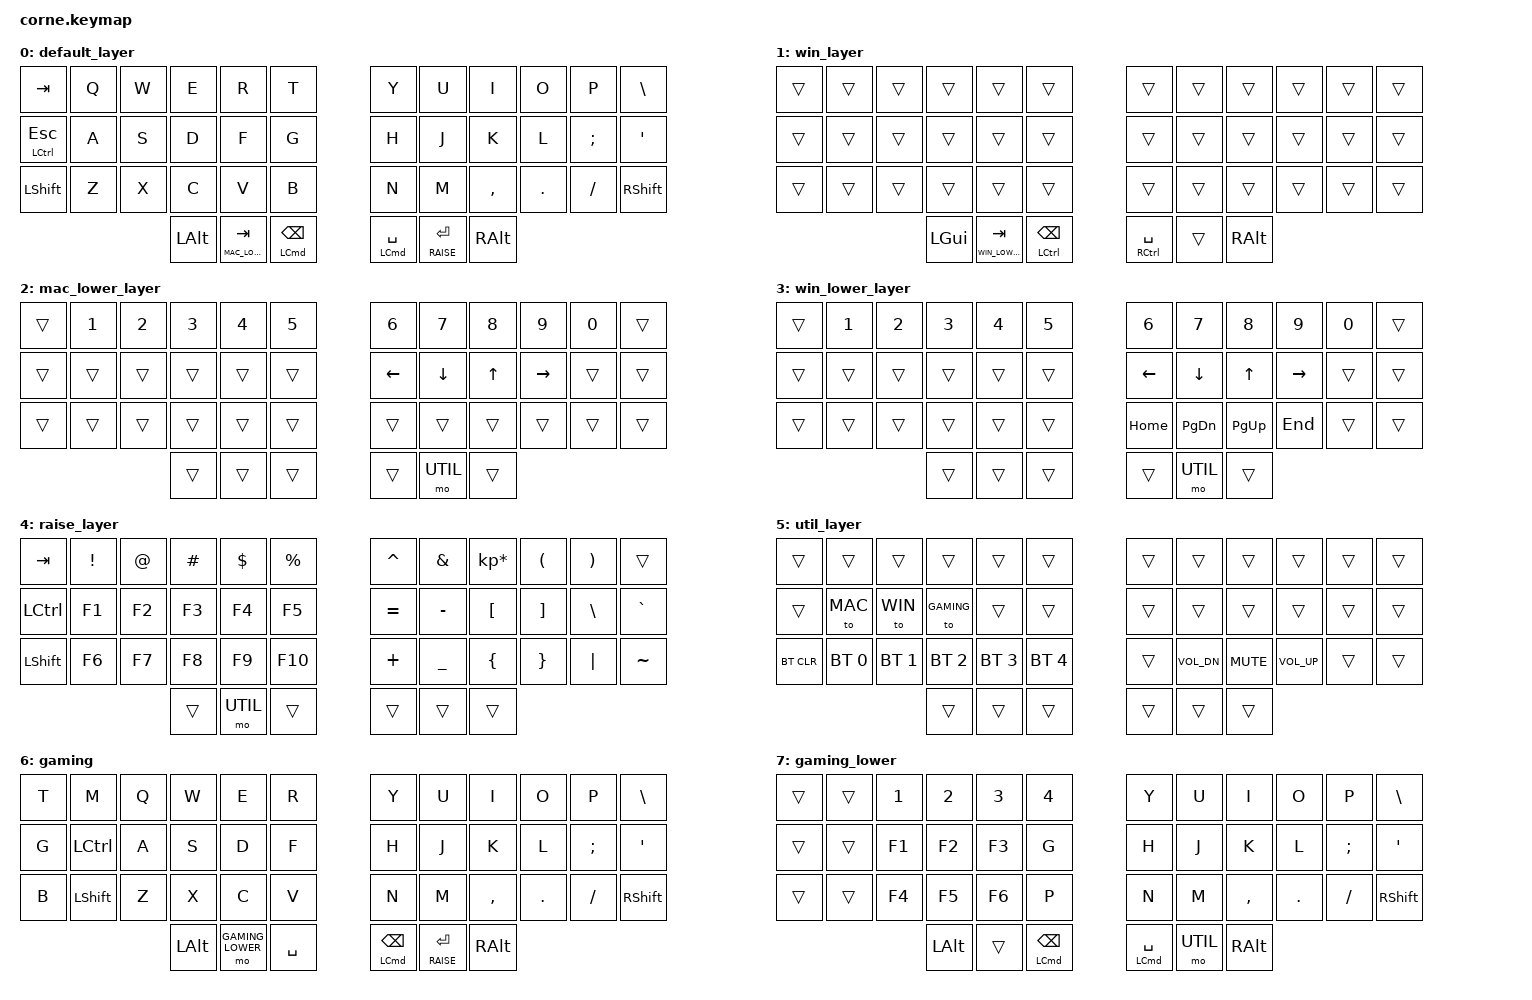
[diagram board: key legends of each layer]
/*
 * Copyright (c) 2020 The ZMK Contributors
 *
 * SPDX-License-Identifier: MIT
 */

#include <behaviors.dtsi>
#include <dt-bindings/zmk/keys.h>
#include <dt-bindings/zmk/bt.h>

#define MAC           0
#define WIN           1
#define MAC_LOWER     2
#define WIN_LOWER     3
#define RAISE         4
#define UTIL          5
#define GAMING        6
#define GAMING_LOWER  7

/ {
        behaviors {
                gqt: global-quick-tap {
                        compatible = "zmk,behavior-hold-tap";
                        label = "GLOBAL_QUICK_TAP";
                        #binding-cells = <2>;
                        flavor = "tap-preferred";
                        tapping-term-ms = <200>;
                        quick-tap-ms = <125>;
                        global-quick-tap;
                        bindings = <&kp>, <&kp>;
                };
        };

// |  0  |  1  |  2  |  3  |  4  |  5  |   |  6  |  7   |  8  |  9  |  10 |  11 |
// |  12 |  13 |  14 |  15 |  16 |  17 |   |  18 |  19  |  20 |  21 |  22 |  23 |
// |  24 |  25 |  26 |  27 |  28 |  29 |   |  30 |  31  |  32 |  33 |  34 |  35 |
//                   |  36 |  37 |  38 |   |  39 |  40  |  41 |
        combos {
                compatible = "zmk,combos";
                combo_esc {
                        timeout-ms = <50>;
                        key-positions = <19 20>;
                        bindings = <&kp ESC>;
                };
                combo_del {
                        timeout-ms = <50>;
                        key-positions = <14 15>;
                        bindings = <&kp DEL>;
                };
                combo_smrtcaps {
                        timeout-ms = <50>;
                        key-positions = <24 35>;
                        bindings = <&caps_word>;
                };
        };

        keymap {
                compatible = "zmk,keymap";

                // MAC
                default_layer {
// -----------------------------------------------------------------------------------------
// TODO fix
// |  TAB |  Q  |  W  |  E  |  R  |  T  |   |  Y  |  U   |  I  |  O  |  P  | BSLH |
// | CTRL |  A  |  S  |  D  |  F  |  G  |   |  H  |  J   |  K  |  L  |  ;  |  '   |
// | SHFT |  Z  |  X  |  C  |  V  |  B  |   |  N  |  M   |  ,  |  .  |  /  | SHFT |
//                    | GUI | LWR | BSP |   | SPC | RSE  | ALT |
                        bindings = <
   &kp TAB       &kp Q &kp W &kp E &kp R &kp T              &kp Y &kp U  &kp I      &kp O   &kp P    &kp BSLH
   &mt LCTRL ESC &kp A &kp S &kp D &kp F &kp G              &kp H &kp J  &kp K      &kp L   &kp SEMI &kp SQT
   &kp LSHFT     &kp Z &kp X &kp C &kp V &kp B              &kp N &kp M  &kp COMMA  &kp DOT &kp FSLH &kp RSHIFT
                  &kp LALT &lt MAC_LOWER TAB &gqt LCMD BSPC      &gqt LCMD SPACE &lt RAISE RET &kp RALT
                        >;
                };
                win_layer {
// -----------------------------------------------------------------------------------------
// TODO: fix
// |  TAB |  Q  |  W  |  E  |  R  |  T  |   |  Y  |  U   |  I  |  O  |  P  | BKSP |
// | CTRL |  A  |  S  |  D  |  F  |  G  |   |  H  |  J   |  K  |  L  |  ;  |  '   |
// | SHFT |  Z  |  X  |  C  |  V  |  B  |   |  N  |  M   |  ,  |  .  |  /  | ESC  |
//                    | GUI | LWR | SPC |   | ENT | RSE  | ALT |
                        bindings = <
   &trans &trans &trans &trans &trans &trans            &trans &trans &trans &trans &trans &trans  
   &trans &trans &trans &trans &trans &trans            &trans &trans &trans &trans &trans &trans  
   &trans &trans &trans &trans &trans &trans            &trans &trans &trans &trans &trans &trans  
              &kp LGUI &lt WIN_LOWER TAB &gqt LCTRL BSPC    &gqt RCTRL SPACE &trans &kp RALT
                        >;
                };

                mac_lower_layer {
// -----------------------------------------------------------------------------------------
// |  TAB |  1  |  2  |  3  |  4  |  5  |   |  6  |  7  |  8  |  9  |  0  | BKSP |
// | BTCLR| BT1 | BT2 | BT3 | BT4 | BT5 |   | LFT | DWN |  UP | RGT |     |      |
// | SHFT |     |     |     |     |     |   |     |     |     |     |     |      |
//                    | GUI |     | SPC |   | ENT |     | ALT |
                        bindings = <
   &trans  &kp N1  &kp N2  &kp N3   &kp N4   &kp N5      &kp N6   &kp N7   &kp N8 &kp N9    &kp N0 &trans
   &trans  &trans  &trans  &trans   &trans   &trans      &kp LEFT &kp DOWN &kp UP &kp RIGHT &trans &trans
   &trans  &trans  &trans  &trans   &trans   &trans      &trans   &trans   &trans &trans    &trans &trans
                           &trans   &trans   &trans      &trans  &mo UTIL   &trans
                        >;
                };

                win_lower_layer {
// -----------------------------------------------------------------------------------------
// |  TAB |  1  |  2  |  3  |  4  |  5  |   |  6  |  7  |  8  |  9  |  0  | BKSP |
// | BTCLR| BT1 | BT2 | BT3 | BT4 | BT5 |   | LFT | DWN |  UP | RGT |     |      |
// | SHFT |     |     |     |     |     |   |     |     |     |     |     |      |
//                    | GUI |     | SPC |   | ENT |     | ALT |
                        bindings = <
   &trans  &kp N1  &kp N2  &kp N3   &kp N4   &kp N5      &kp N6   &kp N7    &kp N8    &kp N9     &kp N0 &trans
   &trans  &trans  &trans  &trans   &trans   &trans      &kp LEFT &kp DOWN  &kp UP    &kp RIGHT  &trans &trans
   &trans  &trans  &trans  &trans   &trans   &trans      &kp HOME &kp PG_DN &kp PG_UP &kp END    &trans &trans
                           &trans   &trans   &trans      &trans   &mo UTIL  &trans
                        >;
                };

                raise_layer {
// -----------------------------------------------------------------------------------------
// |  TAB |  !  |  @  |  #  |  $  |  %  |   |  ^  |  &  |  *  |  (  |  )  | BKSP |
// | CTRL |     |     |     |     |     |   |  -  |  =  |  [  |  ]  |  \  |  `   |
// | SHFT |     |     |     |     |     |   |  _  |  +  |  {  |  }  | "|" |  ~   |
//                    | GUI |     | SPC |   | ENT |     | ALT |
                        bindings = <
   &kp  TAB  &kp EXCL &kp AT &kp HASH &kp DLLR &kp PRCNT   &kp CARET &kp AMPS  &kp KP_MULTIPLY &kp LPAR &kp RPAR &trans
   &kp LCTRL &kp F1   &kp F2 &kp F3   &kp F4   &kp F5      &kp EQUAL &kp MINUS &kp LBKT        &kp RBKT &kp BSLH &kp GRAVE
   &kp LSHFT &kp F6   &kp F7 &kp F8   &kp F9   &kp F10     &kp PLUS  &kp UNDER &kp LBRC        &kp RBRC &kp PIPE &kp TILDE
                             &trans   &mo UTIL &trans      &trans    &trans    &trans
                        >;
                };

                util_layer {
// -----------------------------------------------------------------------------------------
// |      |     |     |     |     |     |   |     |     |     |     |     |      |
// | mac  | win |     |     |     |     |   |     |     |     |     |     |      |
// | btcl | bt0 | bt1 | bt2 | bt3 | bt4 |   |     | vl- | mut | vl+ |     |      |
//                    | GUI |     | SPC |   | ENT |     | ALT |
                        bindings = <
   &trans &trans  &trans &trans &trans &trans            &trans &trans &trans &trans &trans &trans  
   &trans &to MAC &to WIN  &to GAMING &trans &trans          &trans &trans &trans &trans &trans &trans  
   &bt BT_CLR &bt BT_SEL 0 &bt BT_SEL 1 &bt BT_SEL 2 &bt BT_SEL 3 &bt BT_SEL 4   &trans &kp C_VOL_DN &kp C_MUTE &kp C_VOL_UP &trans &trans 
                        &trans  &trans   &trans      &trans  &trans   &trans
                        >;
                };

                gaming {
// -----------------------------------------------------------------------------------------
// TODO fix
// |  TAB |  Q  |  W  |  E  |  R  |  T  |   |  Y  |  U   |  I  |  O  |  P  | BSLH |
// | CTRL |  A  |  S  |  D  |  F  |  G  |   |  H  |  J   |  K  |  L  |  ;  |  '   |
// | SHFT |  Z  |  X  |  C  |  V  |  B  |   |  N  |  M   |  ,  |  .  |  /  | SHFT |
//                    | GUI | LWR | BSP |   | SPC | RSE  | ALT |
                        bindings = <
   &kp T &kp M     &kp Q &kp W &kp E &kp R               &kp Y &kp U  &kp I      &kp O   &kp P    &kp BSLH
   &kp G &kp LCTRL &kp A &kp S &kp D &kp F               &kp H &kp J  &kp K      &kp L   &kp SEMI &kp SQT
   &kp B &kp LSHFT &kp Z &kp X &kp C &kp V               &kp N &kp M  &kp COMMA  &kp DOT &kp FSLH &kp RSHIFT
                 &kp LALT &mo GAMING_LOWER &kp SPACE        &gqt LCMD BSPC &lt RAISE RET &kp RALT
                        >;
                };

                gaming_lower {
// -----------------------------------------------------------------------------------------
// TODO fix
// |  TAB |  Q  |  W  |  E  |  R  |  T  |   |  Y  |  U   |  I  |  O  |  P  | BSLH |
// | CTRL |  A  |  S  |  D  |  F  |  G  |   |  H  |  J   |  K  |  L  |  ;  |  '   |
// | SHFT |  Z  |  X  |  C  |  V  |  B  |   |  N  |  M   |  ,  |  .  |  /  | SHFT |
//                    | GUI | LWR | BSP |   | SPC | RSE  | ALT |
                        bindings = <
   &trans &trans &kp N1 &kp N2 &kp N3 &kp N4              &kp Y &kp U  &kp I      &kp O   &kp P    &kp BSLH
   &trans &trans &kp F1 &kp F2 &kp F3 &kp G               &kp H &kp J  &kp K      &kp L   &kp SEMI &kp SQT
   &trans &trans &kp F4 &kp F5 &kp F6 &kp P               &kp N &kp M  &kp COMMA  &kp DOT &kp FSLH &kp RSHIFT
             &kp LALT &trans &gqt LCMD BSPC               &gqt LCMD SPACE &mo UTIL &kp RALT
                        >;
                };
        };
};
